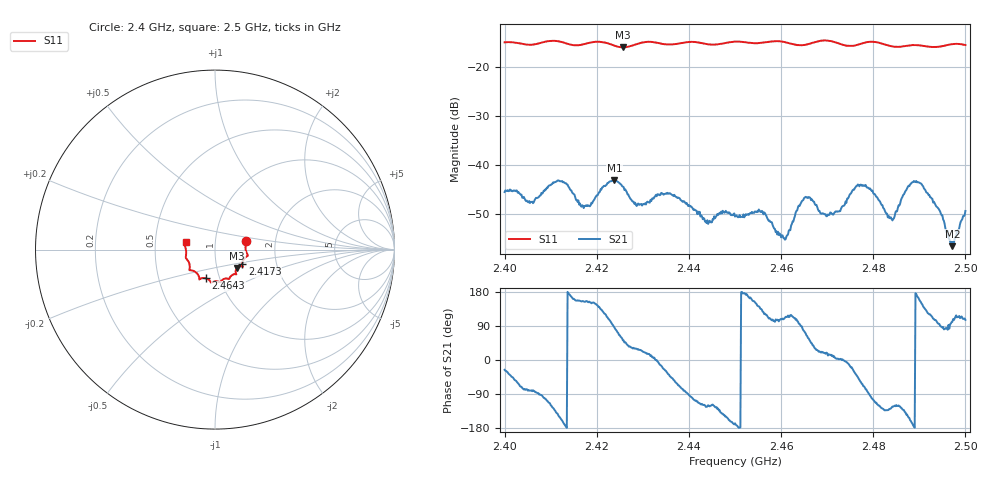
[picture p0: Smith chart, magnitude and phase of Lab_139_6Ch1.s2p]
# Hz S RI R 50
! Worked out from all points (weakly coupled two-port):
!   601 points, 2.4 GHz to 2.5 GHz, reference 50 ohm
!   highest |S21| = -43.19 dB at 2.4238 GHz (marker M1); lowest = -56.7 dB at 2.4972 GHz (marker M2)
!   lowest |S11| = -15.9 dB at 2.4257 GHz (marker M3), VSWR 1.38, Z = 62.4 - j13.1 ohm
!   |S11| at or under -10 dB: start of sweep to end of sweep
!   S12 and S22 are empty: the file has one direction only
!   S11 on the Smith chart (normalised r, x): 2.4 GHz: 1.41, +0.14; 2.4173 GHz: 1.34, -0.23; 2.4643 GHz: 0.86, -0.28; 2.5 GHz: 0.72, +0.06
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2.4e9  0.1733 0.0494  0.00472 -0.0023  0 0  0 0
2.406e9  0.1704 0.000728  0.000562 -0.00415  0 0  0 0
2.412e9  0.1798 -0.0364  -0.00595 -0.00324  0 0  0 0
2.416667e9  0.1528 -0.0748  -0.00336 0.0016  0 0  0 0
2.417333e9  0.1523 -0.0822  -0.0034 0.00168  0 0  0 0
2.423833e9  0.1379 -0.0939  0.000512 0.00691  0 0  0 0
2.425667e9  0.1224 -0.1024  0.00367 0.0047  0 0  0 0
2.428667e9  0.1154 -0.1291  0.0033 0.00185  0 0  0 0
2.433333e9  0.1129 -0.1365  0.00491 -0.000488  0 0  0 0
2.444e9  0.063 -0.1605  -0.00147 -0.00227  0 0  0 0
2.45e9  0.0297 -0.1809  -0.00287 -0.000656  0 0  0 0
2.4555e9  -0.00277 -0.1773  -0.00234 0.00232  0 0  0 0
2.461e9  -0.0257 -0.1783  -0.000703 0.00158  0 0  0 0
2.464333e9  -0.0502 -0.1604  5.78e-05 0.00408  0 0  0 0
2.466667e9  -0.0761 -0.1599  0.00318 0.00309  0 0  0 0
2.47e9  -0.0874 -0.1662  0.00283 0.000934  0 0  0 0
2.477833e9  -0.1339 -0.1159  0.00219 -0.00567  0 0  0 0
2.483333e9  -0.1407 -0.0897  -0.00199 -0.00224  0 0  0 0
2.489833e9  -0.1627 -0.0419  -0.00634 0.00189  0 0  0 0
2.4945e9  -0.1629 0.00446  -4.23e-05 0.00334  0 0  0 0
2.497167e9  -0.1706 0.027  -0.000271 0.00144  0 0  0 0
2.5e9  -0.1636 0.042  -0.000921 0.00323  0 0  0 0
